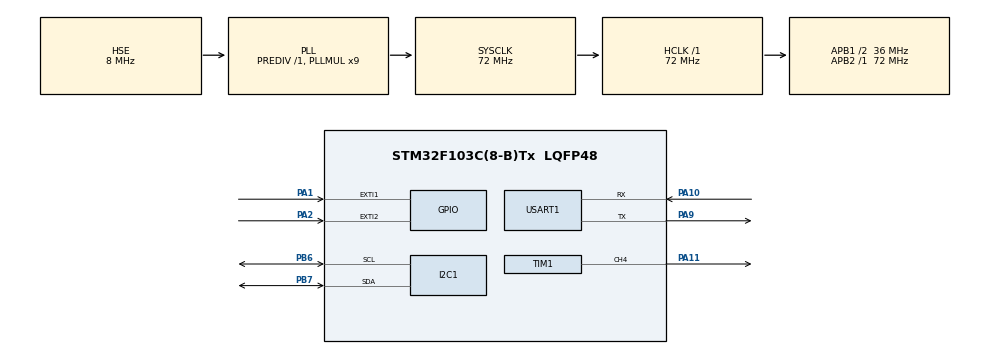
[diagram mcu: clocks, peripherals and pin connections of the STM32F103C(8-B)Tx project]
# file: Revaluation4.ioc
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Dma.Request0=USART1_RX
Dma.Request1=USART1_TX
Dma.USART1_RX.0.Direction=DMA_PERIPH_TO_MEMORY
Dma.USART1_RX.0.Instance=DMA1_Channel5
Dma.USART1_RX.0.MemDataAlignment=DMA_MDATAALIGN_BYTE
Dma.USART1_RX.0.MemInc=DMA_MINC_ENABLE
Dma.USART1_RX.0.Mode=DMA_NORMAL
Dma.USART1_RX.0.PeriphDataAlignment=DMA_PDATAALIGN_BYTE
Dma.USART1_RX.0.PeriphInc=DMA_PINC_DISABLE
Dma.USART1_RX.0.Priority=DMA_PRIORITY_LOW
Dma.USART1_TX.1.Direction=DMA_MEMORY_TO_PERIPH
Dma.USART1_TX.1.Instance=DMA1_Channel4
Dma.USART1_TX.1.MemDataAlignment=DMA_MDATAALIGN_BYTE
Dma.USART1_TX.1.MemInc=DMA_MINC_ENABLE
Dma.USART1_TX.1.Mode=DMA_NORMAL
Dma.USART1_TX.1.PeriphDataAlignment=DMA_PDATAALIGN_BYTE
Dma.USART1_TX.1.PeriphInc=DMA_PINC_DISABLE
Dma.USART1_TX.1.Priority=DMA_PRIORITY_LOW
Mcu.Family=STM32F1
Mcu.Name=STM32F103C(8-B)Tx
Mcu.Package=LQFP48
NVIC.DMA1_Channel4_IRQn=true\:0\:0\:false\:false\:true\:false\:true\:true
NVIC.DMA1_Channel5_IRQn=true\:0\:0\:false\:false\:true\:false\:true\:true
NVIC.EXTI1_IRQn=true\:0\:0\:false\:false\:true\:true\:true\:true
NVIC.EXTI2_IRQn=true\:0\:0\:false\:false\:true\:true\:true\:true
NVIC.PriorityGroup=NVIC_PRIORITYGROUP_4
NVIC.USART1_IRQn=true\:0\:0\:false\:false\:true\:false\:true\:true
PA1.GPIO_PuPd=GPIO_PULLUP
PA1.Signal=GPXTI1
PA10.Mode=Asynchronous
PA10.Signal=USART1_RX
PA11.Signal=S_TIM1_CH4
PA13.Mode=Serial_Wire
PA13.Signal=SYS_JTMS-SWDIO
PA14.Mode=Serial_Wire
PA14.Signal=SYS_JTCK-SWCLK
PA2.GPIO_PuPd=GPIO_PULLUP
PA2.Signal=GPXTI2
PA9.Mode=Asynchronous
PA9.Signal=USART1_TX
PB6.Mode=I2C
PB6.Signal=I2C1_SCL
PB7.Mode=I2C
PB7.Signal=I2C1_SDA
PD0-OSC_IN.Mode=HSE-External-Oscillator
PD0-OSC_IN.Signal=RCC_OSC_IN
PD1-OSC_OUT.Mode=HSE-External-Oscillator
PD1-OSC_OUT.Signal=RCC_OSC_OUT
ProjectManager.HeapSize=0x200
ProjectManager.StackSize=0x400
ProjectManager.TargetToolchain=STM32CubeIDE
RCC.AHBFreq_Value=72000000
RCC.APB1CLKDivider=RCC_HCLK_DIV2
RCC.APB1Freq_Value=36000000
RCC.APB1TimFreq_Value=72000000
RCC.APB2Freq_Value=72000000
RCC.APB2TimFreq_Value=72000000
RCC.HCLKFreq_Value=72000000
RCC.PLLMUL=RCC_PLL_MUL9
RCC.PLLSourceVirtual=RCC_PLLSOURCE_HSE
RCC.SYSCLKFreq_VALUE=72000000
RCC.SYSCLKSource=RCC_SYSCLKSOURCE_PLLCLK
RCC.USBFreq_Value=72000000
SH.S_TIM1_CH4.0=TIM1_CH4,PWM Generation4 CH4
TIM1.Channel-PWM\ Generation4\ CH4=TIM_CHANNEL_4
TIM1.Period=2000-1
TIM1.Prescaler=720-1
USART1.VirtualMode=VM_ASYNC
VP_TIM1_VS_ClockSourceINT.Mode=Internal
board=custom

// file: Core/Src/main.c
/* USER CODE BEGIN Header */
/**
  ******************************************************************************
  * @file           : main.c
  * @brief          : Main program body
  ******************************************************************************
  * @attention
  *
  * Copyright (c) 2026 STMicroelectronics.
  * All rights reserved.
  *
  * This software is licensed under terms that can be found in the LICENSE file
  * in the root directory of this software component.
  * If no LICENSE file comes with this software, it is provided AS-IS.
  *
  ******************************************************************************
  */
/* USER CODE END Header */
#include "main.h"
#include "dma.h"
#include "i2c.h"
#include "tim.h"
#include "usart.h"
#include "gpio.h"

/* USER CODE BEGIN Includes */
#include "oled.h"
#include "oledfont.h"
#include <string.h>
#include <stdio.h>

/* USER CODE END Includes */

/* USER CODE BEGIN PV */
volatile int angle= 5;
volatile uint8_t transmit = 0;
/* USER CODE END PV */

void SystemClock_Config(void);

int main(void)
{

  /* MCU Configuration--------------------------------------------------------*/

  /* Reset of all peripherals, Initializes the Flash interface and the Systick. */
  HAL_Init();

  /* Configure the system clock */
  SystemClock_Config();

  /* Initialize all configured peripherals */
  MX_GPIO_Init();
  MX_DMA_Init();
  MX_TIM1_Init();
  MX_I2C1_Init();
  MX_USART1_UART_Init();
  /* USER CODE BEGIN 2 */

  HAL_TIM_PWM_Start (&htim1 , TIM_CHANNEL_4 );

  OLED_Init();
  OLED_Clear ();

  int CCR = 0;
  int Pulsef = 0;
  int Pulsed = 0;
  char message1[30];
  char message2[30];
  char message3[30];
  char message[100];
  /* USER CODE END 2 */

  /* Infinite loop */
  /* USER CODE BEGIN WHILE */

  while (1)
  {
    CCR = (((float)angle / 18 + 2.5 ) / 100) * 2000;
    Pulsed = CCR/1000;
    Pulsef = CCR%1000;
    __HAL_TIM_SET_COMPARE (&htim1 , TIM_CHANNEL_4 , CCR  );

    HAL_Delay (10);

    sprintf(message1,"Target : %d    " , angle );
    sprintf(message2,"CCR    : %d    " , CCR );
    sprintf(message3,"pulse  : %d.%d    " , Pulsed,Pulsef  );
    sprintf(message,"%s\n %s\n %s\n",message1,message2,message3);
    OLED_ShowString (0,0,message1,12,0);
    OLED_ShowString (0,1,message2,12,0);
    OLED_ShowString (0,2,message3,12,0);

    if (transmit == 1) {
      HAL_UART_Transmit_DMA(&huart1 , (uint8_t *)message,strlen(message) );

    }
    /* USER CODE END WHILE */

  }
}

void SystemClock_Config(void)
{
  RCC_OscInitTypeDef RCC_OscInitStruct = {0};
  RCC_ClkInitTypeDef RCC_ClkInitStruct = {0};

  /** Initializes the RCC Oscillators according to the specified parameters
  * in the RCC_OscInitTypeDef structure.
  */
  RCC_OscInitStruct.OscillatorType = RCC_OSCILLATORTYPE_HSE;
  RCC_OscInitStruct.HSEState = RCC_HSE_ON;
  RCC_OscInitStruct.HSEPredivValue = RCC_HSE_PREDIV_DIV1;
  RCC_OscInitStruct.HSIState = RCC_HSI_ON;
  RCC_OscInitStruct.PLL.PLLState = RCC_PLL_ON;
  RCC_OscInitStruct.PLL.PLLSource = RCC_PLLSOURCE_HSE;
  RCC_OscInitStruct.PLL.PLLMUL = RCC_PLL_MUL9;
  if (HAL_RCC_OscConfig(&RCC_OscInitStruct) != HAL_OK)
  {
    Error_Handler();
  }

  /** Initializes the CPU, AHB and APB buses clocks
  */
  RCC_ClkInitStruct.ClockType = RCC_CLOCKTYPE_HCLK|RCC_CLOCKTYPE_SYSCLK
                              |RCC_CLOCKTYPE_PCLK1|RCC_CLOCKTYPE_PCLK2;
  RCC_ClkInitStruct.SYSCLKSource = RCC_SYSCLKSOURCE_PLLCLK;
  RCC_ClkInitStruct.AHBCLKDivider = RCC_SYSCLK_DIV1;
  RCC_ClkInitStruct.APB1CLKDivider = RCC_HCLK_DIV2;
  RCC_ClkInitStruct.APB2CLKDivider = RCC_HCLK_DIV1;

  if (HAL_RCC_ClockConfig(&RCC_ClkInitStruct, FLASH_LATENCY_2) != HAL_OK)
  {
    Error_Handler();
  }
}

/* USER CODE BEGIN 4 */
void HAL_GPIO_EXTI_Callback(uint16_t GPIO_Pin)
{
  if (GPIO_Pin == GPIO_PIN_1 )
  {
    static uint32_t last = 0;
    uint32_t now = HAL_GetTick();

    if ((now - last) > 20)
    {
      angle -= 15 ;
      if (angle <5)
      {
        angle = 5;
      }
      transmit = 1;
      last = now;
    }
  }

  if (GPIO_Pin == GPIO_PIN_2 )
  {
    static uint32_t last = 0;
    uint32_t now = HAL_GetTick();

    if ((now - last) > 20)
    {
      angle += 15 ;
      if (angle >175)
      {
        angle = 175;
      }
      transmit = 1;
      last = now;
    }
  }
}

void HAL_UART_TxCpltCallback(UART_HandleTypeDef *huart)
{
  if (huart == &huart1 )
  {
    transmit = 0;
  }
}
/* USER CODE END 4 */

void Error_Handler(void)
{
  __disable_irq();
  while (1)
  {
  }
}
